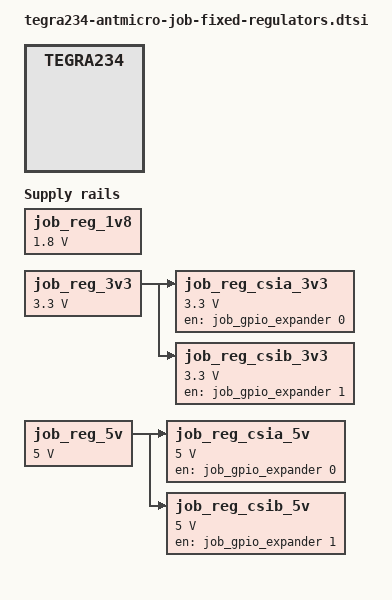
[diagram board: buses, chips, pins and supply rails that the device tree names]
/*
 * Copyright (c) 2022, NVIDIA CORPORATION.  All rights reserved.
 * Copyright (c) 2023 Antmicro <www.antmicro.com>
 *
 * This program is free software; you can redistribute it and/or modify
 * it under the terms of the GNU General Public License as published by
 * the Free Software Foundation; either version 2 of the License, or
 * (at your option) any later version.
 *
 * This program is distributed in the hope that it will be useful, but WITHOUT
 * ANY WARRANTY; without even the implied warranty of MERCHANTABILITY or
 * FITNESS FOR A PARTICULAR PURPOSE.  See the GNU General Public License for
 * more details.
 */

/ {
	fixed-regulators {
		/* System supplies */
		job_reg_1v8: regulator@100 {
			compatible = "regulator-fixed";
			regulator-name = "job_reg_1v8";
			regulator-min-microvolt = <1800000>;
			regulator-max-microvolt = <1800000>;
			regulator-always-on;
		};

		job_reg_3v3: regulator@101 {
			compatible = "regulator-fixed";
			regulator-name = "job_reg_3v3";
			regulator-min-microvolt = <3300000>;
			regulator-max-microvolt = <3300000>;
			regulator-always-on;
		};

		job_reg_5v: regulator@102 {
			compatible = "regulator-fixed";
			regulator-name = "job_reg_5v";
			regulator-min-microvolt = <5000000>;
			regulator-max-microvolt = <5000000>;
			regulator-always-on;
		};

		/* CSI camera power switches */
		job_reg_csia_5v: regulator@110 {
			compatible = "regulator-fixed";
			regulator-name = "job_reg_csia_5v";
			regulator-min-microvolt = <5000000>;
			regulator-max-microvolt = <5000000>;
			vin-supply = <&job_reg_5v>;
			gpio = <&job_gpio_expander 0 GPIO_ACTIVE_HIGH>;
			enable-active-high;
			startup-delay-us = <10000>;
		};

		job_reg_csia_3v3: regulator@111 {
			compatible = "regulator-fixed";
			regulator-name = "job_reg_csia_3v3";
			regulator-min-microvolt = <3300000>;
			regulator-max-microvolt = <3300000>;
			vin-supply = <&job_reg_3v3>;
			gpio = <&job_gpio_expander 0 GPIO_ACTIVE_HIGH>;
			enable-active-high;
			startup-delay-us = <10000>;
		};

		job_reg_csib_5v: regulator@112 {
			compatible = "regulator-fixed";
			regulator-name = "job_reg_csib_5v";
			regulator-min-microvolt = <5000000>;
			regulator-max-microvolt = <5000000>;
			vin-supply = <&job_reg_5v>;
			gpio = <&job_gpio_expander 1 GPIO_ACTIVE_HIGH>;
			enable-active-high;
			startup-delay-us = <10000>;
		};

		job_reg_csib_3v3: regulator@113 {
			compatible = "regulator-fixed";
			regulator-name = "job_reg_csib_3v3";
			regulator-min-microvolt = <3300000>;
			regulator-max-microvolt = <3300000>;
			vin-supply = <&job_reg_3v3>;
			gpio = <&job_gpio_expander 1 GPIO_ACTIVE_HIGH>;
			enable-active-high;
			startup-delay-us = <10000>;
		};
	};
};
